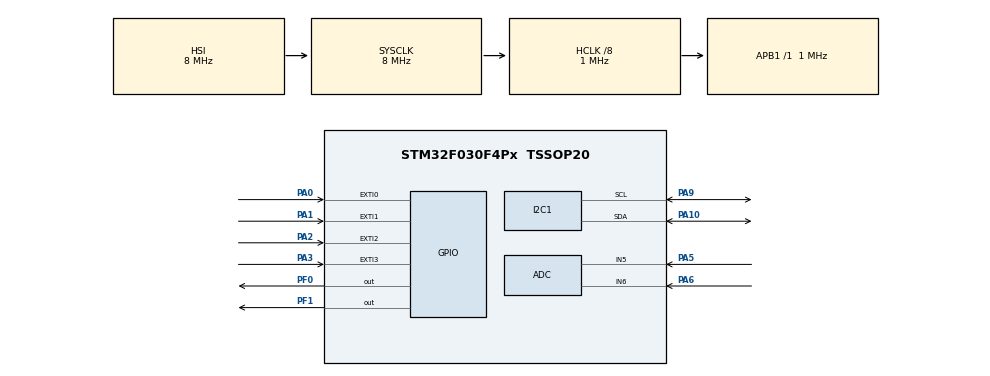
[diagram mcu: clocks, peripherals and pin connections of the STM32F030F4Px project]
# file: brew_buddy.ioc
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ADC.LowPowerAutoPowerOff=ENABLE
ADC.LowPowerAutoWait=ENABLE
ADC.SamplingTime=ADC_SAMPLETIME_71CYCLES_5
CRC.InputDataFormat=CRC_INPUTDATA_FORMAT_WORDS
IWDG.Prescaler=IWDG_PRESCALER_64
IWDG.Reload=1875
Mcu.Family=STM32F0
Mcu.Name=STM32F030F4Px
Mcu.Package=TSSOP20
NVIC.ADC1_IRQn=true\:2\:0\:true\:false\:true\:true
NVIC.EXTI0_1_IRQn=true\:1\:0\:true\:false\:true\:true
NVIC.EXTI2_3_IRQn=true\:1\:0\:true\:false\:true\:true
PA0.GPIO_ModeDefaultEXTI=GPIO_MODE_IT_RISING_FALLING
PA0.GPIO_PuPd=GPIO_PULLUP
PA0.Signal=GPXTI0
PA1.GPIO_ModeDefaultEXTI=GPIO_MODE_IT_RISING_FALLING
PA1.GPIO_PuPd=GPIO_PULLUP
PA1.Signal=GPXTI1
PA10.GPIO_Speed=GPIO_SPEED_FREQ_HIGH
PA10.Mode=I2C
PA10.Signal=I2C1_SDA
PA13.Mode=Serial_Wire
PA13.Signal=SYS_SWDIO
PA14.Mode=Serial_Wire
PA14.Signal=SYS_SWCLK
PA2.GPIO_ModeDefaultEXTI=GPIO_MODE_IT_RISING_FALLING
PA2.GPIO_PuPd=GPIO_PULLUP
PA2.Signal=GPXTI2
PA3.GPIO_ModeDefaultEXTI=GPIO_MODE_IT_RISING_FALLING
PA3.GPIO_PuPd=GPIO_PULLUP
PA3.Signal=GPXTI3
PA5.Mode=IN5
PA5.Signal=ADC_IN5
PA6.Mode=IN6
PA6.Signal=ADC_IN6
PA9.GPIO_Speed=GPIO_SPEED_FREQ_HIGH
PA9.Mode=I2C
PA9.Signal=I2C1_SCL
PF0-OSC_IN.Signal=GPIO_Output
PF1-OSC_OUT.Signal=GPIO_Output
ProjectManager.HeapSize=0x100
ProjectManager.StackSize=0x100
ProjectManager.TargetToolchain=SW4STM32
RCC.AHBCLKDivider=RCC_SYSCLK_DIV8
RCC.AHBFreq_Value=1000000
RCC.APB1Freq_Value=1000000
RCC.APB1TimFreq_Value=1000000
RCC.HCLKFreq_Value=1000000
RCC.PLLMUL=RCC_PLL_MUL6
RCC.SYSCLKFreq_VALUE=8000000
RCC.VDD_VALUE=3
VP_CRC_VS_CRC.Mode=CRC_Activate
VP_IWDG_VS_IWDG.Mode=IWDG_Activate
board=beer_buddy

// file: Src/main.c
/*
  BrewBuddy by Marcelo Barros de Almeida is licensed under a
  Creative Commons Attribution-NonCommercial-ShareAlike 4.0 International License.

  For commercial usage, please contact the author via marcelobarrosalmeida@gmail.com
*/

/**
  ******************************************************************************
  * File Name          : main.c
  * Description        : Main program body
  ******************************************************************************
  ** This notice applies to any and all portions of this file
  * that are not between comment pairs USER CODE BEGIN and
  * USER CODE END. Other portions of this file, whether
  * inserted by the user or by software development tools
  * are owned by their respective copyright owners.
  *
  * COPYRIGHT(c) 2017 STMicroelectronics
  *
  * Redistribution and use in source and binary forms, with or without modification,
  * are permitted provided that the following conditions are met:
  *   1. Redistributions of source code must retain the above copyright notice,
  *      this list of conditions and the following disclaimer.
  *   2. Redistributions in binary form must reproduce the above copyright notice,
  *      this list of conditions and the following disclaimer in the documentation
  *      and/or other materials provided with the distribution.
  *   3. Neither the name of STMicroelectronics nor the names of its contributors
  *      may be used to endorse or promote products derived from this software
  *      without specific prior written permission.
  *
  * THIS SOFTWARE IS PROVIDED BY THE COPYRIGHT HOLDERS AND CONTRIBUTORS "AS IS"
  * AND ANY EXPRESS OR IMPLIED WARRANTIES, INCLUDING, BUT NOT LIMITED TO, THE
  * IMPLIED WARRANTIES OF MERCHANTABILITY AND FITNESS FOR A PARTICULAR PURPOSE ARE
  * DISCLAIMED. IN NO EVENT SHALL THE COPYRIGHT HOLDER OR CONTRIBUTORS BE LIABLE
  * FOR ANY DIRECT, INDIRECT, INCIDENTAL, SPECIAL, EXEMPLARY, OR CONSEQUENTIAL
  * DAMAGES (INCLUDING, BUT NOT LIMITED TO, PROCUREMENT OF SUBSTITUTE GOODS OR
  * SERVICES; LOSS OF USE, DATA, OR PROFITS; OR BUSINESS INTERRUPTION) HOWEVER
  * CAUSED AND ON ANY THEORY OF LIABILITY, WHETHER IN CONTRACT, STRICT LIABILITY,
  * OR TORT (INCLUDING NEGLIGENCE OR OTHERWISE) ARISING IN ANY WAY OUT OF THE USE
  * OF THIS SOFTWARE, EVEN IF ADVISED OF THE POSSIBILITY OF SUCH DAMAGE.
  *
  ******************************************************************************
  */

#include "main.h"
#include "stm32f0xx_hal.h"

/* USER CODE BEGIN Includes */
#include <stdbool.h>
#include <stdint.h>
#include "bb.h"
/* USER CODE END Includes */

ADC_HandleTypeDef hadc;

CRC_HandleTypeDef hcrc;

I2C_HandleTypeDef hi2c1;

IWDG_HandleTypeDef hiwdg;

/* USER CODE BEGIN PV */
/* Private variables ---------------------------------------------------------*/

/* USER CODE END PV */

void SystemClock_Config(void);
static void MX_GPIO_Init(void);
static void MX_I2C1_Init(void);
static void MX_ADC_Init(void);
static void MX_CRC_Init(void);
static void MX_IWDG_Init(void);

/* USER CODE BEGIN PFP */
/* Private function prototypes -----------------------------------------------*/

/* USER CODE END PFP */

/* USER CODE BEGIN 0 */
void SystemClock_Config_Custom(void)
{
  uint32_t tickstart;

  __HAL_RCC_HSI_CALIBRATIONVALUE_ADJUST(16);
  __HAL_RCC_HSI14ADC_DISABLE();
  __HAL_RCC_HSI14_ENABLE();

  tickstart = HAL_GetTick();
  while(__HAL_RCC_GET_FLAG(RCC_FLAG_HSI14RDY) == RESET)
  {
    if((HAL_GetTick() - tickstart) > HSI14_TIMEOUT_VALUE)
      break;
  }

  __HAL_RCC_HSI14_CALIBRATIONVALUE_ADJUST(16);
  MODIFY_REG(RCC->CFGR, RCC_CFGR_HPRE, RCC_SYSCLK_DIV8);

  __HAL_RCC_SYSCLK_CONFIG(RCC_SYSCLKSOURCE_HSI);

  /* Get Start Tick */
  tickstart = HAL_GetTick();

  while (__HAL_RCC_GET_SYSCLK_SOURCE() != RCC_SYSCLKSOURCE_STATUS_HSI)
  {
    if((HAL_GetTick() - tickstart ) > CLOCKSWITCH_TIMEOUT_VALUE)
      break;
  }

  MODIFY_REG(RCC->CFGR, RCC_CFGR_PPRE, RCC_HCLK_DIV1);
  SystemCoreClock = HAL_RCC_GetSysClockFreq() >> AHBPrescTable[(RCC->CFGR & RCC_CFGR_HPRE)>> RCC_CFGR_HPRE_BITNUMBER];

  HAL_InitTick (TICK_INT_PRIORITY);

  __HAL_RCC_I2C1_CONFIG(RCC_I2C1CLKSOURCE_HSI);

    /**Configure the Systick interrupt time
    */
  HAL_SYSTICK_Config(HAL_RCC_GetHCLKFreq()/1000);

    /**Configure the Systick
    */
  HAL_SYSTICK_CLKSourceConfig(SYSTICK_CLKSOURCE_HCLK);

  /* SysTick_IRQn interrupt configuration */
  HAL_NVIC_SetPriority(SysTick_IRQn, 0, 0);
}

/* USER CODE END 0 */

int main(void)
{

  /* MCU Configuration----------------------------------------------------------*/

  /* Reset of all peripherals, Initializes the Flash interface and the Systick. */
  HAL_Init();

  /* USER CODE BEGIN Init */
#if 1
  SystemClock_Config_Custom();
#else
  /* USER CODE END Init */

  /* Configure the system clock */
  SystemClock_Config();

  /* USER CODE BEGIN SysInit */
#endif
  /* USER CODE END SysInit */

  /* Initialize all configured peripherals */
  MX_GPIO_Init();
  MX_I2C1_Init();
  MX_ADC_Init();
  MX_CRC_Init();
  MX_IWDG_Init();

  /* USER CODE BEGIN 2 */
  bb_init();
  /* USER CODE END 2 */

  /* Infinite loop */
  /* USER CODE BEGIN WHILE */
  while (1)
  {
	  __WFI();
	  HAL_IWDG_Refresh(&hiwdg);
  /* USER CODE END WHILE */

  }

}

/** System Clock Configuration
*/
void SystemClock_Config(void)
{

  RCC_OscInitTypeDef RCC_OscInitStruct;
  RCC_ClkInitTypeDef RCC_ClkInitStruct;
  RCC_PeriphCLKInitTypeDef PeriphClkInit;

    /**Initializes the CPU, AHB and APB busses clocks
    */
  RCC_OscInitStruct.OscillatorType = RCC_OSCILLATORTYPE_HSI|RCC_OSCILLATORTYPE_HSI14
                              |RCC_OSCILLATORTYPE_LSI;
  RCC_OscInitStruct.HSIState = RCC_HSI_ON;
  RCC_OscInitStruct.HSI14State = RCC_HSI14_ON;
  RCC_OscInitStruct.HSICalibrationValue = 16;
  RCC_OscInitStruct.HSI14CalibrationValue = 16;
  RCC_OscInitStruct.LSIState = RCC_LSI_ON;
  RCC_OscInitStruct.PLL.PLLState = RCC_PLL_NONE;
  if (HAL_RCC_OscConfig(&RCC_OscInitStruct) != HAL_OK)
  {
    _Error_Handler(__FILE__, __LINE__);
  }

    /**Initializes the CPU, AHB and APB busses clocks
    */
  RCC_ClkInitStruct.ClockType = RCC_CLOCKTYPE_HCLK|RCC_CLOCKTYPE_SYSCLK
                              |RCC_CLOCKTYPE_PCLK1;
  RCC_ClkInitStruct.SYSCLKSource = RCC_SYSCLKSOURCE_HSI;
  RCC_ClkInitStruct.AHBCLKDivider = RCC_SYSCLK_DIV8;
  RCC_ClkInitStruct.APB1CLKDivider = RCC_HCLK_DIV1;

  if (HAL_RCC_ClockConfig(&RCC_ClkInitStruct, FLASH_LATENCY_0) != HAL_OK)
  {
    _Error_Handler(__FILE__, __LINE__);
  }

  PeriphClkInit.PeriphClockSelection = RCC_PERIPHCLK_I2C1;
  PeriphClkInit.I2c1ClockSelection = RCC_I2C1CLKSOURCE_HSI;
  if (HAL_RCCEx_PeriphCLKConfig(&PeriphClkInit) != HAL_OK)
  {
    _Error_Handler(__FILE__, __LINE__);
  }

    /**Configure the Systick interrupt time
    */
  HAL_SYSTICK_Config(HAL_RCC_GetHCLKFreq()/1000);

    /**Configure the Systick
    */
  HAL_SYSTICK_CLKSourceConfig(SYSTICK_CLKSOURCE_HCLK);

  /* SysTick_IRQn interrupt configuration */
  HAL_NVIC_SetPriority(SysTick_IRQn, 0, 0);
}

/* ADC init function */
static void MX_ADC_Init(void)
{

  ADC_ChannelConfTypeDef sConfig;

    /**Configure the global features of the ADC (Clock, Resolution, Data Alignment and number of conversion)
    */
  hadc.Instance = ADC1;
  hadc.Init.ClockPrescaler = ADC_CLOCK_ASYNC_DIV1;
  hadc.Init.Resolution = ADC_RESOLUTION_12B;
  hadc.Init.DataAlign = ADC_DATAALIGN_RIGHT;
  hadc.Init.ScanConvMode = ADC_SCAN_DIRECTION_FORWARD;
  hadc.Init.EOCSelection = ADC_EOC_SINGLE_CONV;
  hadc.Init.LowPowerAutoWait = ENABLE;
  hadc.Init.LowPowerAutoPowerOff = ENABLE;
  hadc.Init.ContinuousConvMode = DISABLE;
  hadc.Init.DiscontinuousConvMode = DISABLE;
  hadc.Init.ExternalTrigConv = ADC_SOFTWARE_START;
  hadc.Init.ExternalTrigConvEdge = ADC_EXTERNALTRIGCONVEDGE_NONE;
  hadc.Init.DMAContinuousRequests = DISABLE;
  hadc.Init.Overrun = ADC_OVR_DATA_PRESERVED;
  if (HAL_ADC_Init(&hadc) != HAL_OK)
  {
    _Error_Handler(__FILE__, __LINE__);
  }

    /**Configure for the selected ADC regular channel to be converted.
    */
  sConfig.Channel = ADC_CHANNEL_5;
  sConfig.Rank = ADC_RANK_CHANNEL_NUMBER;
  sConfig.SamplingTime = ADC_SAMPLETIME_71CYCLES_5;
  if (HAL_ADC_ConfigChannel(&hadc, &sConfig) != HAL_OK)
  {
    _Error_Handler(__FILE__, __LINE__);
  }

    /**Configure for the selected ADC regular channel to be converted.
    */
  sConfig.Channel = ADC_CHANNEL_6;
  if (HAL_ADC_ConfigChannel(&hadc, &sConfig) != HAL_OK)
  {
    _Error_Handler(__FILE__, __LINE__);
  }

}

/* CRC init function */
static void MX_CRC_Init(void)
{

  hcrc.Instance = CRC;
  hcrc.Init.DefaultPolynomialUse = DEFAULT_POLYNOMIAL_ENABLE;
  hcrc.Init.DefaultInitValueUse = DEFAULT_INIT_VALUE_ENABLE;
  hcrc.Init.InputDataInversionMode = CRC_INPUTDATA_INVERSION_NONE;
  hcrc.Init.OutputDataInversionMode = CRC_OUTPUTDATA_INVERSION_DISABLE;
  hcrc.InputDataFormat = CRC_INPUTDATA_FORMAT_WORDS;
  if (HAL_CRC_Init(&hcrc) != HAL_OK)
  {
    _Error_Handler(__FILE__, __LINE__);
  }

}

/* I2C1 init function */
static void MX_I2C1_Init(void)
{

  hi2c1.Instance = I2C1;
  hi2c1.Init.Timing = 0x2000090E;
  hi2c1.Init.OwnAddress1 = 0;
  hi2c1.Init.AddressingMode = I2C_ADDRESSINGMODE_7BIT;
  hi2c1.Init.DualAddressMode = I2C_DUALADDRESS_DISABLE;
  hi2c1.Init.OwnAddress2 = 0;
  hi2c1.Init.OwnAddress2Masks = I2C_OA2_NOMASK;
  hi2c1.Init.GeneralCallMode = I2C_GENERALCALL_DISABLE;
  hi2c1.Init.NoStretchMode = I2C_NOSTRETCH_DISABLE;
  if (HAL_I2C_Init(&hi2c1) != HAL_OK)
  {
    _Error_Handler(__FILE__, __LINE__);
  }

    /**Configure Analogue filter
    */
  if (HAL_I2CEx_ConfigAnalogFilter(&hi2c1, I2C_ANALOGFILTER_ENABLE) != HAL_OK)
  {
    _Error_Handler(__FILE__, __LINE__);
  }

    /**Configure Digital filter
    */
  if (HAL_I2CEx_ConfigDigitalFilter(&hi2c1, 0) != HAL_OK)
  {
    _Error_Handler(__FILE__, __LINE__);
  }

}

/* IWDG init function */
static void MX_IWDG_Init(void)
{

  hiwdg.Instance = IWDG;
  hiwdg.Init.Prescaler = IWDG_PRESCALER_64;
  hiwdg.Init.Window = 4095;
  hiwdg.Init.Reload = 1875;
  if (HAL_IWDG_Init(&hiwdg) != HAL_OK)
  {
    _Error_Handler(__FILE__, __LINE__);
  }

}

/** Configure pins as
        * Analog
        * Input
        * Output
        * EVENT_OUT
        * EXTI
*/
static void MX_GPIO_Init(void)
{

  GPIO_InitTypeDef GPIO_InitStruct;

  /* GPIO Ports Clock Enable */
  __HAL_RCC_GPIOF_CLK_ENABLE();
  __HAL_RCC_GPIOA_CLK_ENABLE();

  /*Configure GPIO pin Output Level */
  HAL_GPIO_WritePin(GPIOF, GPIO_PIN_0|GPIO_PIN_1, GPIO_PIN_RESET);

  /*Configure GPIO pins : PF0 PF1 */
  GPIO_InitStruct.Pin = GPIO_PIN_0|GPIO_PIN_1;
  GPIO_InitStruct.Mode = GPIO_MODE_OUTPUT_PP;
  GPIO_InitStruct.Pull = GPIO_NOPULL;
  GPIO_InitStruct.Speed = GPIO_SPEED_FREQ_LOW;
  HAL_GPIO_Init(GPIOF, &GPIO_InitStruct);

  /*Configure GPIO pins : PA0 PA1 PA2 PA3 */
  GPIO_InitStruct.Pin = GPIO_PIN_0|GPIO_PIN_1|GPIO_PIN_2|GPIO_PIN_3;
  GPIO_InitStruct.Mode = GPIO_MODE_IT_RISING_FALLING;
  GPIO_InitStruct.Pull = GPIO_PULLUP;
  HAL_GPIO_Init(GPIOA, &GPIO_InitStruct);

  /* EXTI interrupt init*/
  HAL_NVIC_SetPriority(EXTI0_1_IRQn, 1, 0);
  HAL_NVIC_EnableIRQ(EXTI0_1_IRQn);

  HAL_NVIC_SetPriority(EXTI2_3_IRQn, 1, 0);
  HAL_NVIC_EnableIRQ(EXTI2_3_IRQn);

}

void _Error_Handler(char * file, int line)
{
  while(1)
  {
  }
}

/************************ (C) COPYRIGHT STMicroelectronics *****END OF FILE****/
